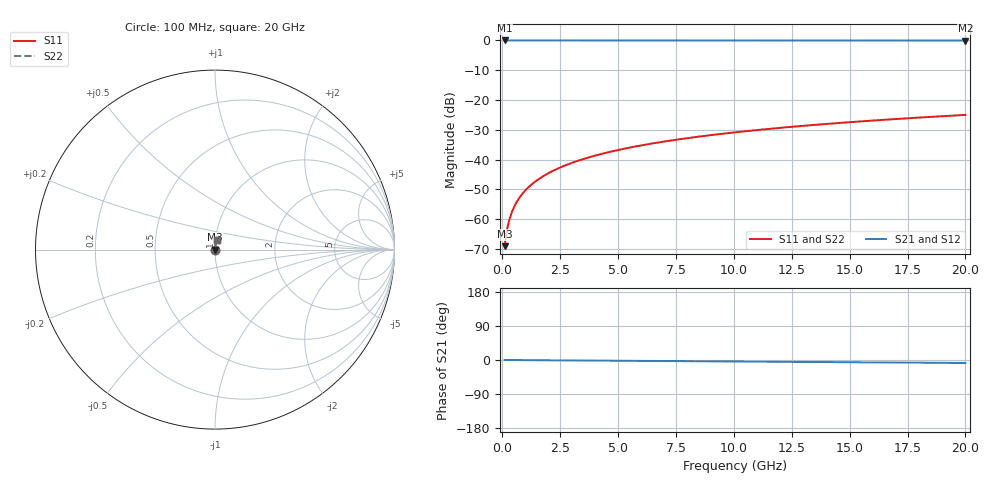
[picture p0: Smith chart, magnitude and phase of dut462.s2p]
! Touchstone file exported from HFSS 2026.1.0
!  File:  C:/ffzhzh/LocalFiles/Ansys_Project_Files/temp_train_TSV_462_1783022059_53980.aedt
!  Generated:  03:55:52 AM Jul  3, 2026
!  Design:  TSV
!  Project:  temp_train_TSV_462_1783022059_53980
! Variables:
!  h_bsmrdl = 2um
!  h_ox = 20um
!  h_rdl = 5um
!  h_sub = 64.73um
!  h_tmrdl = 5um
!  h_tsv = 64.73um
!  h_via = 3um
!  l_bsmrdl = 300um
!  l_sub = 416.08um
!  l_tmrdl = 200um
!  m_sub = 200um
!  pitch = 56.72um
!  r_tsv = 8.04um
!  s_tmrdl = 10um
!  w_bsmrdl = 18um
!  w_sub = 500um
!  w_tmrdl = 12um
!  x_tsv_center1 = 206um
!  x_tsv_center2 = 524um
!  x_tsv_center3 = 736um
!  x_tsv_center4 = 1054um
!  x_tsv_center5 = 1266um
!  x_tsv_center6 = 1584um
# GHz S MA R 50.000000
! Terminal data exported
! Port[1] = TSV1_1_T1
! Port[2] = TSV1_1_T2
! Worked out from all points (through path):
!   200 points, 100 MHz to 20 GHz, reference 50 ohm
!   highest |S21| = 0.00 dB at 100 MHz (marker M1); lowest = 0.0 dB at 20 GHz (marker M2)
!   group delay of S21, straight-line fit = 1.09 ps
!   lowest |S11| = -69.1 dB at 100 MHz (marker M3), VSWR 1.00, Z = 50 + j0.0317 ohm
!   |S11| at or under -10 dB: start of sweep to end of sweep
!   |S22| runs from -69.1 to -25.0 dB; largest |S21 - S12| = 7.4e-15
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0.1  0.00035 64.9  0.9999 -0.0  0.9999 -0.0  0.00035 64.9
! Gamma 0 0 0 0
! Port Impedance 50 0 50 0
0.2  0.0006513 76.0  0.9998 -0.1  0.9998 -0.1  0.0006513 76.0
0.3  0.0009593 79.7  0.9998 -0.1  0.9998 -0.1  0.0009593 79.7
0.4  0.001266 81.4  0.9998 -0.2  0.9998 -0.2  0.001266 81.4
0.5  0.001569 82.3  0.9998 -0.2  0.9998 -0.2  0.001569 82.3
0.6  0.001869 82.9  0.9998 -0.2  0.9998 -0.2  0.001869 82.9
0.7  0.002166 83.3  0.9998 -0.3  0.9998 -0.3  0.002166 83.3
0.8  0.00246 83.6  0.9997 -0.3  0.9997 -0.3  0.00246 83.6
1  0.003042 84.1  0.9997 -0.4  0.9997 -0.4  0.003042 84.1
1.4  0.004193 84.8  0.9996 -0.6  0.9996 -0.6  0.004193 84.8
1.7  0.005051 85.1  0.9996 -0.7  0.9996 -0.7  0.005051 85.1
2  0.005908 85.4  0.9996 -0.8  0.9996 -0.8  0.005908 85.4
2.7  0.007906 85.7  0.9995 -1.1  0.9995 -1.1  0.007906 85.7
3.5  0.01018 85.8  0.9994 -1.4  0.9994 -1.4  0.01018 85.8
4.2  0.01217 85.7  0.9994 -1.7  0.9994 -1.7  0.01217 85.7
5  0.01443 85.6  0.9993 -2.0  0.9993 -2.0  0.01443 85.6
6.8  0.0195 85.2  0.9991 -2.7  0.9991 -2.7  0.0195 85.2
8.3  0.02371 84.8  0.9989 -3.3  0.9989 -3.3  0.02371 84.8
10.1  0.02874 84.3  0.9987 -4.0  0.9987 -4.0  0.02874 84.3
13.4  0.03792 83.2  0.9983 -5.3  0.9983 -5.3  0.03792 83.2
16.7  0.04705 82.1  0.9978 -6.6  0.9978 -6.6  0.04705 82.1
20  0.05612 80.9  0.9972 -7.8  0.9972 -7.8  0.05612 80.9
